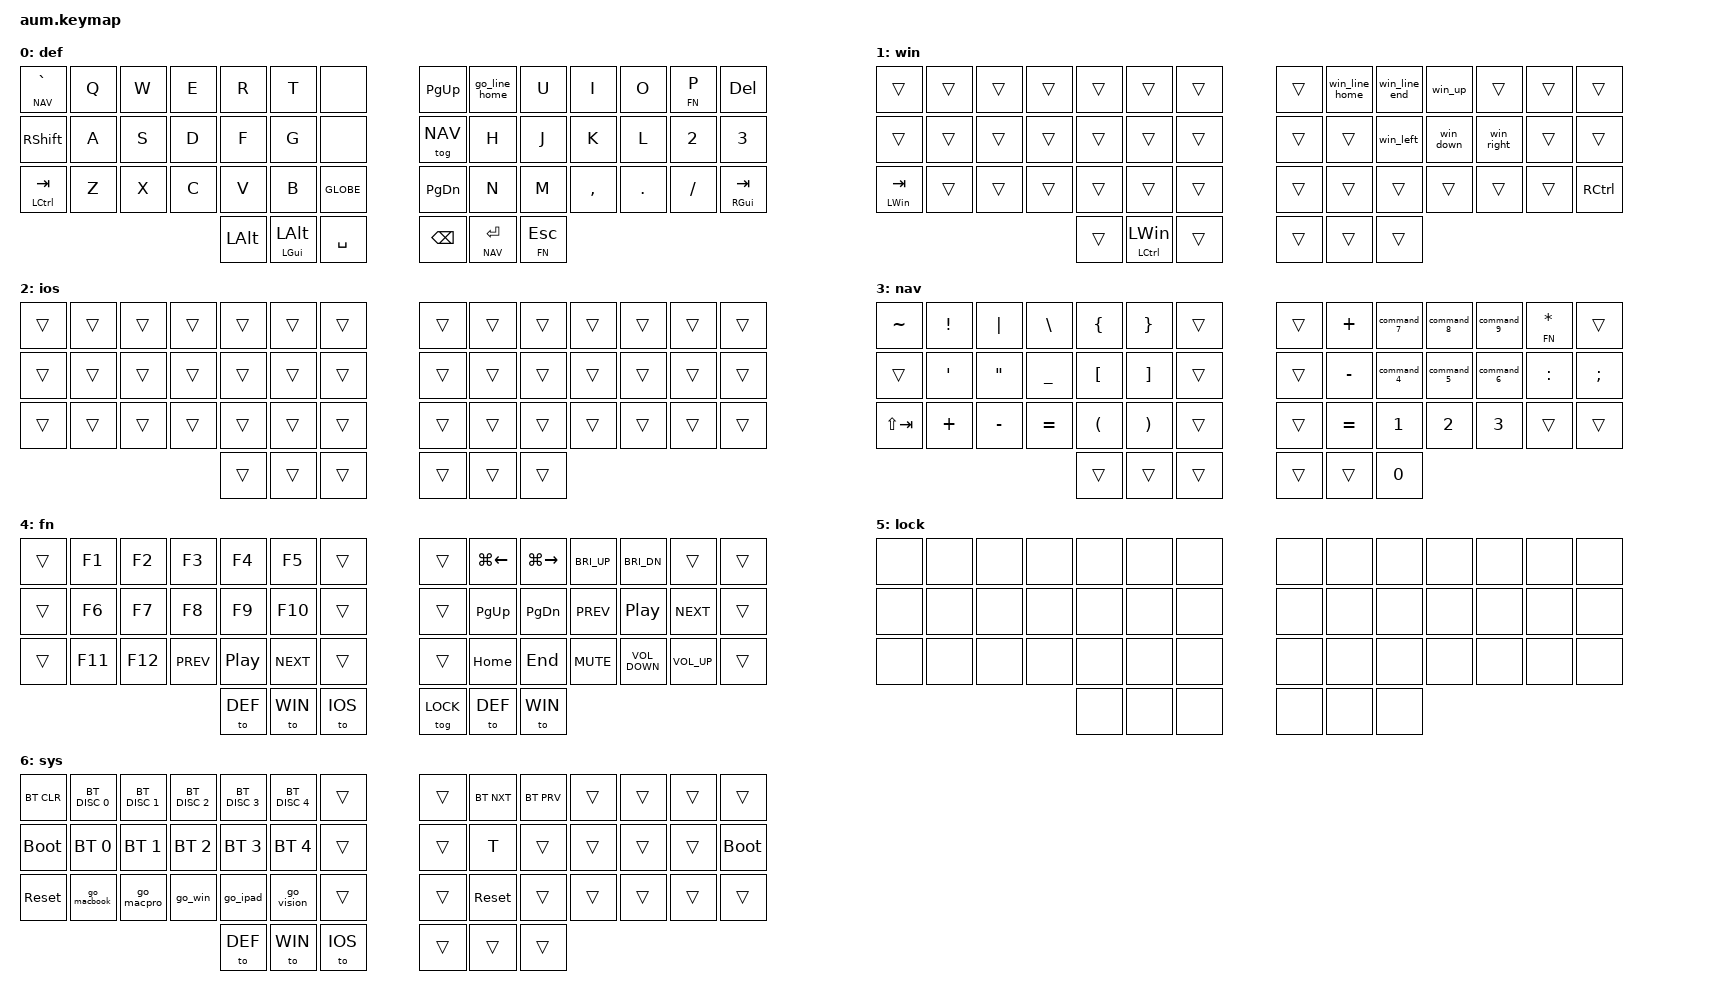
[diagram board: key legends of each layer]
#define ZMK_MOUSE_DEFAULT_SCRL_VAL 140

#include <behaviors/mouse_keys.dtsi>
#include <dt-bindings/zmk/mouse.h>
#include <behaviors.dtsi>
#include <dt-bindings/zmk/bt.h>
#include <dt-bindings/zmk/keys.h>
#include <dt-bindings/zmk/pointing.h>


#define XXX &none
#define ___ &trans

#define COMBO_TIMEOUT 100

#define DEF 0
#define WIN 1
#define IOS 2
#define NAV 3
#define FN 4
#define LOCK 5  // 添加LOCK层
#define SYS 6


// 设置图层切换风格, 默认是轻触优先, 我这里改成按住优先就可以
&lt {
    flavor = "hold-preferred";
    tapping-term-ms = <200>;
    require-prior-idle-ms = <125>;  // 也就差说如果我在按下A键125ms内按下这个键, 轻触行为会生效
};

&mt {
    flavor = "hold-preferred";
    tapping-term-ms = <200>;
};


/ {
    conditional_layers {
        compatible = "zmk,conditional-layers";
        tri_layer {
            if-layers = <3 4>;
            then-layer = <6>;
        };
    };
};

/ {
    combos {
        compatible = "zmk,combos";

        // 添加锁定层的组合键
        // combo_lock_layer {
        //     timeout-ms = <50>;
        //     key-positions = <1 2 3>;  // 右上角三个键的组合
        //     bindings = <&tog LOCK>;     // 切换LOCK层
        // };

         combo_lock_layer_new {
             timeout-ms = <50>;
             key-positions = <16 17 18>;  // 三个键的组合, 第一排开始, 左右都算在内
             bindings = <&tog LOCK>;     // 切换LOCK层
             require-prior-idle-ms = <1000>;  // 添加这个配置，要求在按combo之前有200ms的空闲时间
         };
    };
};


/ {
    behaviors {

    mk_tap: mk_tap {
            compatible = "zmk,behavior-hold-tap";
            #binding-cells = <2>;
            flavor = "tap-preferred";
            tapping-term-ms = <200>;
            quick-tap-ms = <200>; // 在 200ms 内再次按下时使用轻触功能
            retro-tap;  // 单独按住后松开仍触发轻触功能
            bindings = <&kp>, <&kp>;
        };

    mt_hold: mt_hold {
            compatible = "zmk,behavior-hold-tap";
            #binding-cells = <2>;
            flavor = "hold-preferred";
            tapping-term-ms = <200>;
            bindings = <&kp>, <&kp>;
        };

    lgui_hold: lgui_hold {
            compatible = "zmk,behavior-hold-tap";
            #binding-cells = <2>;
            flavor = "hold-preferred";
            tapping-term-ms = <300>;
            // quick-tap-ms = <200>; // 如果在200毫秒内再次按下这个键, 则直接出发两次这个键
            // retro-tap;  // 如果按了之后没有按其他键, 直接松开了, 则触发短按功能 
            hold-while-undecided;  // 如果按住之后, 立刻按其他键了, 则直接触发长按功能
            // hold-while-undecided-linger;
            bindings = <&kp>, <&kp>;
        };
        
    layer_tap: layer_tap {
            compatible = "zmk,behavior-hold-tap";
            #binding-cells = <2>;
            flavor = "tap-preferred";
            tapping-term-ms = <200>;
            quick-tap-ms = <200>; // 如果在200毫秒内再次按下删除键, 则直接触发删除键
            // require-prior-idle-ms = <125>;   // 如果在按下之后的125ms内按下了其他的非修饰键, 例如f键, 则直接触发删除键功能
            retro-tap;  // 如果按了之后没有按其他键, 直接松开了, 则触发删除键功能
            //  hold-while-undecided;  // 按下后立即触发换层功能, 除非什么也不按直接松开, 否则都是按住功能
            bindings = <&mo>, <&kp>;
        };


        layer_hold: layer_hold {
            compatible = "zmk,behavior-hold-tap";
            #binding-cells = <2>;
            flavor = "hold-preferred";
            tapping-term-ms = <300>;
            quick-tap-ms = <200>; // 如果在200毫秒内再次按下删除键, 则直接触发删除键
            require-prior-idle-ms = <125>;   // 如果在按下之前的125ms内按下了其他的非修饰键, 例如f键, 则直接触发删除键功能
            // retro-tap;  // 如果按了之后没有按其他键, 直接松开了, 则触发删除键功能
            hold-while-undecided;  // 按下后立即触发换层功能, 除非什么也不按直接松开, 否则都是按住功能
            bindings = <&mo>, <&kp>;
        };

        

        go_up: go_up {
            compatible = "zmk,behavior-mod-morph";
            #binding-cells = <0>;
            bindings = <&kp I>, <&kp UP_ARROW>;
            mods = <(MOD_LGUI|MOD_RGUI)>;
        };

        go_down: go_down {
            compatible = "zmk,behavior-mod-morph";
            #binding-cells = <0>;
            bindings = <&kp K>, <&kp DOWN_ARROW>;
            mods = <(MOD_LGUI|MOD_RGUI)>;
        };

        go_right: go_right {
            compatible = "zmk,behavior-mod-morph";
            #binding-cells = <0>;
            bindings = <&kp L>, <&kp RIGHT_ARROW>;
            mods = <(MOD_LGUI|MOD_RGUI)>;
        };

        go_left: go_left {
            compatible = "zmk,behavior-mod-morph";
            #binding-cells = <0>;
            bindings = <&kp J>, <&kp LEFT_ARROW>;
            mods = <(MOD_LGUI|MOD_RGUI)>;
        };

        go_page_up: go_page_up {
            compatible = "zmk,behavior-mod-morph";
            #binding-cells = <0>;
            bindings = <&kp Y>, <&kp PAGE_UP>;
            mods = <(MOD_LGUI|MOD_RGUI)>;
        };

        go_page_down: go_page_down {
            compatible = "zmk,behavior-mod-morph";
            #binding-cells = <0>;
            bindings = <&kp H>, <&kp PAGE_DOWN>;
            mods = <(MOD_LGUI|MOD_RGUI)>;
        };

        go_line_home: go_line_home {
            compatible = "zmk,behavior-mod-morph";
            #binding-cells = <0>;
            bindings = <&kp Y>, <&kp LG(LEFT_ARROW)>;
            mods = <(MOD_LGUI|MOD_RGUI)>;
        };

        go_line_end: go_line_end {
            compatible = "zmk,behavior-mod-morph";
            #binding-cells = <0>;
            bindings = <&kp U>, <&kp LG(RIGHT_ARROW)>;
            mods = <(MOD_LGUI|MOD_RGUI)>;
        };

        // win方向快捷键设置
        win_up: win_up {
            compatible = "zmk,behavior-mod-morph";
            #binding-cells = <0>;
            bindings = <&kp I>, <&kp UP_ARROW>;
            mods = <(MOD_LCTL|MOD_RCTL)>;
        };

        win_down: win_down {
            compatible = "zmk,behavior-mod-morph";
            #binding-cells = <0>;
            bindings = <&kp K>, <&kp DOWN_ARROW>;
            mods = <(MOD_LCTL|MOD_RCTL)>;
        };

        win_right: win_right {
            compatible = "zmk,behavior-mod-morph";
            #binding-cells = <0>;
            bindings = <&kp L>, <&kp RIGHT_ARROW>;
            mods = <(MOD_LCTL|MOD_RCTL)>;
        };

        win_left: win_left {
            compatible = "zmk,behavior-mod-morph";
            #binding-cells = <0>;
            bindings = <&kp J>, <&kp LEFT_ARROW>;
            mods = <(MOD_LCTL|MOD_RCTL)>;
        };

        win_page_up: win_page_up {
            compatible = "zmk,behavior-mod-morph";
            #binding-cells = <0>;
            bindings = <&kp Y>, <&kp PAGE_UP>;
            mods = <(MOD_LCTL|MOD_RCTL)>;
        };

        win_page_down: win_page_down {
            compatible = "zmk,behavior-mod-morph";
            #binding-cells = <0>;
            bindings = <&kp H>, <&kp PAGE_DOWN>;
            mods = <(MOD_LCTL|MOD_RCTL)>;
        };

        win_line_home: win_line_home {
            compatible = "zmk,behavior-mod-morph";
            #binding-cells = <0>;
            bindings = <&kp Y>, <&kp LG(LEFT_ARROW)>;
            mods = <(MOD_LCTL|MOD_RCTL)>;
        };

        win_line_end: win_line_end {
            compatible = "zmk,behavior-mod-morph";
            #binding-cells = <0>;
            bindings = <&kp U>, <&kp LG(RIGHT_ARROW)>;
            mods = <(MOD_LCTL|MOD_RCTL)>;
        };
    };
};


/ {
    behaviors {
        command_4: command_4 {
            compatible = "zmk,behavior-mod-morph";
            #binding-cells = <0>;
            bindings = <&kp NUMBER_4>, <&kp LG(LEFT_ARROW)>;
            mods = <(MOD_LGUI|MOD_RGUI)>;
        };

        command_8_base: command_8_base {
            compatible = "zmk,behavior-mod-morph";
            #binding-cells = <0>;
            bindings = <&kp NUMBER_8>, <&kp LG(UP_ARROW)>;
            mods = <(MOD_LGUI|MOD_RGUI)>;
        };

        command_8_shift: command_8_shift {
            compatible = "zmk,behavior-mod-morph";
            #binding-cells = <0>;
            bindings = <&kp ASTERISK>, <&account_macro>;
            mods = <(MOD_LGUI|MOD_RGUI)>;
        };

        command_8: command_8 {
            compatible = "zmk,behavior-mod-morph";
            #binding-cells = <0>;
            bindings = <&command_8_base>, <&command_8_shift>;
            mods = <(MOD_LSFT|MOD_RSFT)>;
        };

        command_5: command_5 {
            compatible = "zmk,behavior-mod-morph";
            #binding-cells = <0>;
            bindings = <&kp NUMBER_5>, <&kp LG(DOWN_ARROW)>;
            mods = <(MOD_LGUI|MOD_RGUI)>;
        };

        command_6_base: command_6_base {
            compatible = "zmk,behavior-mod-morph";
            #binding-cells = <0>;
            bindings = <&kp NUMBER_6>, <&kp LG(RIGHT_ARROW)>;
            mods = <(MOD_LGUI|MOD_RGUI)>;
        };

        command_6_shift: command_6_shift {
            compatible = "zmk,behavior-mod-morph";
            #binding-cells = <0>;
            bindings = <&kp CARET>, <&qq_macro>;
            mods = <(MOD_LGUI|MOD_RGUI)>;
        };

        command_6: command_6 {
            compatible = "zmk,behavior-mod-morph";
            #binding-cells = <0>;
            bindings = <&command_6_base>, <&command_6_shift>;
            mods = <(MOD_LSFT|MOD_RSFT)>;
        };
        
        command_7_shift: command_7_shift {
            compatible = "zmk,behavior-mod-morph";
            #binding-cells = <0>;
            bindings = <&kp AMPS>, <&email_macro>;
            mods = <(MOD_LGUI|MOD_RGUI)>;
        };

        command_7: command_7 {
            compatible = "zmk,behavior-mod-morph";
            #binding-cells = <0>;
            bindings = <&kp NUMBER_7>, <&command_7_shift>;
            mods = <(MOD_LSFT|MOD_RSFT)>;
        };

        command_9_shift: command_9_shift {
            compatible = "zmk,behavior-mod-morph";
            #binding-cells = <0>;
            bindings = <&kp LPAR>, <&phone_macro>;
            mods = <(MOD_LGUI|MOD_RGUI)>;
        };

        command_9: command_9 {
            compatible = "zmk,behavior-mod-morph";
            #binding-cells = <0>;
            bindings = <&kp NUMBER_9>, <&command_9_shift>;
            mods = <(MOD_LSFT|MOD_RSFT)>;
        };

    };
};


/ {
    macros {

        account_macro: account_macro {
            compatible = "zmk,behavior-macro";
            #binding-cells = <0>;
            wait-ms = <10>;
            tap-ms = <10>;
            bindings
                = <&macro_release &kp LSHFT>
                , <&macro_release &kp RSHFT>
                , <&macro_release &kp LGUI>
                , <&macro_release &kp RGUI>
                , <&macro_release &kp LCTRL>
                , <&macro_release &kp RCTRL>
                , <&macro_release &kp LALT>
                , <&macro_release &kp RALT>
                , <&macro_tap &kp LS(Y) &kp Y &kp UNDERSCORE &kp N1 &kp N3 &kp N0 &kp N2 &kp N9 &kp N9 &kp N5 &kp N3 &kp N8 &kp N8 &kp N7>
                ;
        };

        email_macro: email_macro {
            compatible = "zmk,behavior-macro";
            #binding-cells = <0>;
            wait-ms = <10>;
            tap-ms = <10>;
            bindings
                = <&macro_release &kp LSHFT>
                , <&macro_release &kp RSHFT>
                , <&macro_release &kp LGUI>
                , <&macro_release &kp RGUI>
                , <&macro_release &kp LCTRL>
                , <&macro_release &kp RCTRL>
                , <&macro_release &kp LALT>
                , <&macro_release &kp RALT>
                , <&macro_tap &kp Y &kp A &kp N &kp G &kp Y &kp U &kp E &kp H &kp A &kp H &kp A &kp AT &kp Q &kp Q &kp DOT &kp C &kp O &kp M>
                ;
        };

        phone_macro: phone_macro {
            compatible = "zmk,behavior-macro";
            #binding-cells = <0>;
            wait-ms = <10>;
            tap-ms = <10>;
            bindings
                = <&macro_release &kp LSHFT>
                , <&macro_release &kp RSHFT>
                , <&macro_release &kp LGUI>
                , <&macro_release &kp RGUI>
                , <&macro_release &kp LCTRL>
                , <&macro_release &kp RCTRL>
                , <&macro_release &kp LALT>
                , <&macro_release &kp RALT>
                , <&macro_tap &kp N1 &kp N8 &kp N9 &kp N4 &kp N6 &kp N3 &kp N5 &kp N1 &kp N8 &kp N6 &kp N0>
                ;
        };

        qq_macro: qq_macro {
            compatible = "zmk,behavior-macro";
            #binding-cells = <0>;
            wait-ms = <10>;
            tap-ms = <10>;
            bindings
                = <&macro_release &kp LSHFT>
                , <&macro_release &kp RSHFT>
                , <&macro_release &kp LGUI>
                , <&macro_release &kp RGUI>
                , <&macro_release &kp LCTRL>
                , <&macro_release &kp RCTRL>
                , <&macro_release &kp LALT>
                , <&macro_release &kp RALT>
                , <&macro_tap &kp Y &kp Y &kp N3 &kp N5 &kp N3 &kp N4 &kp N3 &kp N6 &kp N5>
                ;
        };

        tab_page_two: tab_page_two {
            compatible = "zmk,behavior-macro";
            #binding-cells = <0>;
            bindings
                = <&macro_press &kp LGUI>
                , <&macro_wait_time 100>
                , <&macro_tap &kp TAB>
                , <&macro_wait_time 100>
                , <&macro_tap &kp TAB>
                , <&macro_wait_time 100>
                , <&macro_release &kp LGUI>
                ;
        };

        go_macbook: go_macbook {
            compatible = "zmk,behavior-macro";
            #binding-cells = <0>;
            bindings
                = <&bt BT_SEL 0>
                , <&to DEF>
                ;
        };

        go_macpro: go_macpro {
            compatible = "zmk,behavior-macro";
            #binding-cells = <0>;
            bindings
                = <&bt BT_SEL 1>
                , <&to DEF>
                ;
        };

        go_win: go_win {
            compatible = "zmk,behavior-macro";
            #binding-cells = <0>;
            bindings
                = <&bt BT_SEL 2>
                , <&to WIN>
                ;
        };

        go_ipad: go_ipad {
            compatible = "zmk,behavior-macro";
            #binding-cells = <0>;
            bindings
                = <&bt BT_SEL 3>
                , <&to IOS>
                ;
        };

       go_vision: go_vision {
            compatible = "zmk,behavior-macro";
            #binding-cells = <0>;
            bindings
                = <&bt BT_SEL 4>
                , <&to IOS>
                ;
        };

        go_lock: go_lock {
            compatible = "zmk,behavior-macro";
            #binding-cells = <0>;
            bindings
                = <&bt BT_SEL 4>
                , <&tog LOCK>
                ;
        };

    };
};


// 下面是Notion快捷键

/ {
    behaviors {

        notion_h1: notion_h1 {
            compatible = "zmk,behavior-mod-morph";
            #binding-cells = <0>;
            bindings = <&kp A>, <&kp LG(LA(NUMBER_1))>;
            mods = <(MOD_LALT)>;
        };

        notion_h2: notion_h2 {
            compatible = "zmk,behavior-mod-morph";
            #binding-cells = <0>;
            bindings = <&kp S>, <&kp LG(LA(NUMBER_2))>;
            mods = <(MOD_LALT)>;
        };

        notion_h3: notion_h3 {
            compatible = "zmk,behavior-mod-morph";
            #binding-cells = <0>;
            bindings = <&kp D>, <&kp LG(LA(NUMBER_3))>;
            mods = <(MOD_LALT)>;
        };

        notion_h0: notion_h0 {
            compatible = "zmk,behavior-mod-morph";
            #binding-cells = <0>;
            bindings = <&kp F>, <&kp LG(LA(NUMBER_0))>;
            mods = <(MOD_LALT)>;
        };
    };
};


/ {
    behaviors {
        
        LGUI_tab: LGUI_tab {
                compatible = "zmk,behavior-mod-morph";
                #binding-cells = <0>;
                bindings = <&kp LGUI>, <&kp LS(TAB)>;
                mods = <(MOD_LSFT)>;
        };

        LCTL_tab: LCTL_tab {
                compatible = "zmk,behavior-mod-morph";
                #binding-cells = <0>;
                bindings = <&kp LCTL>, <&kp LS(TAB)>;
                mods = <(MOD_LSFT)>;
        };

        LOCK_TOG: LOCK_TOG {
            compatible = "zmk,behavior-mod-morph";
            #binding-cells = <0>;
            bindings = <XXX>, <&tog LOCK>;
            mods = <(MOD_LGUI)>;
        };

        tonav: tonav {
            compatible = "zmk,behavior-mod-morph";
            #binding-cells = <0>;
            bindings = <XXX>, <&tog NAV>;
            mods = <(MOD_LALT)>;
        };

        dance_tilde: dance_tilde {
            compatible = "zmk,behavior-tap-dance";
            #binding-cells = <0>;
            tapping-term-ms = <200>;
            bindings = <XXX>, <&kp TILDE>;
        };
    };
};


/ {
    behaviors {

        td0: tap_dance_0 {
            compatible = "zmk,behavior-tap-dance";
            #binding-cells = <0>;
            tapping-term-ms = <200>;
            bindings = <&kp N1>, <&kp N2>, <&kp N3>;
        };

        dance_LBRC: dance_LBRC {
            compatible = "zmk,behavior-tap-dance";
            #binding-cells = <0>;
            tapping-term-ms = <400>;
            bindings = <&kp RS(LBKT)>, <&kp RS(RBKT)>;
        };

        dance_LPAR: dance_LPAR {
            compatible = "zmk,behavior-tap-dance";
            #binding-cells = <0>;
            tapping-term-ms = <400>;
            bindings = <&kp RS(N9)>, <&kp RS(N0)>;
        };

        dance_LBKT: dance_LBKT {
            compatible = "zmk,behavior-tap-dance";
            #binding-cells = <0>;
            tapping-term-ms = <400>;
            bindings = <&kp LBKT>, <&kp RBKT>;
        };

        dance_COLON: dance_COLON {
            compatible = "zmk,behavior-tap-dance";
            #binding-cells = <0>;
            tapping-term-ms = <400>;
            bindings = <&kp RS(SEMICOLON)>, <&kp SEMICOLON>;
        };

        dance_PIPE: dance_PIPE {
            compatible = "zmk,behavior-tap-dance";
            #binding-cells = <0>;
            tapping-term-ms = <400>;
            bindings = <&kp RS(BACKSLASH)>, <&kp BACKSLASH>;
        };

        dance_GRAVE: dance_GRAVE {
            compatible = "zmk,behavior-tap-dance";
            #binding-cells = <0>;
            tapping-term-ms = <400>;
            bindings = <&kp GRAVE>, <&kp TILDE>;
        };
    };
};


/ {
        keymap {
                compatible = "zmk,keymap";

                // 与 cornepad 一致：Cmd + I/J/K/L 的方向映射交给电脑端（Karabiner）。
                // U 同步为普通字母；Y 仍保留固件中的行首快捷键。
                DEF_layer {
                        bindings = <
//╭──────╮ ╭─────────────┬─────────────┬─────────────┬─────────────┬───────────┬───────────╮               ╭──────────────┬─────────────┬─────────────┬─────────────┬─────────────┬─────────────╮ ╭──────╮
  &layer_hold NAV GRAVE   &kp Q        &kp W          &kp E         &kp R          &kp T         XXX                     &kp PAGE_UP   &go_line_home   &kp U    &kp I      &kp O     &layer_tap FN P  &kp DELETE
//├──────┤ ├─────────────┼─────────────┼─────────────┼─────────────┼───────────┬───────────┤              ├─────────────┬──────────────┼─────────────┼─────────────┼─────────────┼─────────────┤ ├──────┤
  &kp RSHIFT  &kp A         &kp S          &kp D        &kp F         &kp G        XXX                     &tog NAV         &kp H        &kp J      &kp K     &kp L      &kp NUMBER_2     &kp NUMBER_3
//├──────┤ ├─────────────┼─────────────┼─────────────┼─────────────┼───────────┼───────────┤               ├─────────────┬──────────────┼─────────────┼─────────────┼─────────────┼─────────────┤ ├──────┤
  &mt LCTL TAB &kp Z        &kp X         &kp C         &kp V        &kp B      &kp GLOBE                 &kp PAGE_DOWN    &kp N         &kp M      &kp COMMA      &kp DOT      &kp SLASH   &mt_hold RGUI TAB
//├──────┤ ╰─────────────┼─────────────┴─────────────┼─────────────┼───────────┼───────────┤             ├────────────┬───────────────┼─────────────┼─────────────┴───────────────────────────╯ ├──────┤
                                        &kp LALT     &lgui_hold LGUI LALT  &kp SPC                           &kp BACKSPACE   &layer_hold NAV ENTER  &layer_hold FN ESC
//                                     ╰────────────┼──────────────┴─────────────╯                         ╰─────────────┴─────────────┼─────────────╯
                        >;
                label = "def";
                };


WIN_layer {

                        bindings = <
 //╭──────╮ ╭─────────────┬─────────────┬─────────────┬─────────────┬─────────────┬───────────╮               ╭─────────────┬─────────────┬─────────────┬─────────────┬─────────────╮ ╭─────────┬────────╮
    ___        ___          ___             ___           ___           ___          ___                           ___      &win_line_home   &win_line_end   &win_up          ___             ___         ___
//├──────┤ ├─────────────┼─────────────┼─────────────┼─────────────┼─────────────┬───────────┤                ├─────────────┬───────────┼─────────────┼─────────────┼─────────────┼─────────────┤ ├──────┤
     ___      ___           ___             ___           ___           ___         ___                             ___         ___         &win_left     &win_down   &win_right       ___           ___
//├──────┤ ├─────────────┼─────────────┼─────────────┼─────────────┼────────────┼─────────┤                   ├─────────────┬───────────┼─────────────┼─────────────┼─────────────┼─────────────┤ ├──────┤
  &mt LWIN TAB   ___             ___         ___        ___             ___         ___                             ___         ___          ___           ___           ___         ___           &kp RCTRL
//├──────┤ ╰─────────────┼─────────────┴─────────────┼─────────────┼────────────┼─────────┤                   ├─────────────┬───────────┼─────────────┼─────────────┴───────────────────────────╯ ├──────┤
                                          ___     &lgui_hold LCTL LWIN   ___                                              ___           ___         ___
//                                     ╰─────────────┴─────────────┴─────────────╯                                          ╰─────────────┴───────────┴─────────────╯                       
                        >;
                label = "win";
		};


IOS_layer {

                        bindings = <
//╭──────╮ ╭─────────────┬─────────────┬─────────────┬─────────────┬──────────────┬──────────╮               ╭─────────────┬─────────────┬─────────────┬─────────────┬─────────────╮ ╭─────────┬────────╮
    ___        ___          ___           ___            ___         ___             ___                           ___       ___          ___            ___          ___             ___         ___
//├──────┤ ├─────────────┼─────────────┼─────────────┼─────────────┼────────────┬────────────┤               ├─────────────┬───────────┼─────────────┼─────────────┼─────────────┼─────────────┤ ├──────┤
    ___        ___           ___           ___           ___         ___           ___                          ___         ___          ___           ___           ___         ___           ___
//├──────┤ ├─────────────┼─────────────┼─────────────┼─────────────┼────────────┼─────────┤                  ├─────────────┬───────────┼─────────────┼─────────────┼─────────────┼─────────────┤ ├──────┤
    ___       ___             ___           ___          ___         ___            ___                         ___         ___          ___           ___           ___         ___           ___
//├──────┤ ╰─────────────┼─────────────┴─────────────┼─────────────┼────────────┼─────────┤                  ├─────────────┬───────────┼─────────────┼─────────────┴───────────────────────────╯ ├──────┤
                                            ___          ___          ___                                                    ___           ___           ___
//                                     ╰─────────────┴─────────────┴─────────────╯                                         ╰─────────────┴─────────────┴─────────────╯
                        >;
                label = "ios";
		};

                NAV_layer {
                        bindings = <
//╭──────╮ ╭─────────────┬─────────────┬────────────────────┬────────────────┬───────────────┬───────────╮                  ╭───────────┬───────────────┬─────────────┬─────────────┬─────────────┬─────────────╮ ╭──────╮
  &kp TILDE  &kp EXCLAMATION &kp PIPE     &kp BACKSLASH         &kp LBRC        &kp RBRC         ___                            ___       &kp PLUS   &command_7    &command_8   &command_9     &layer_tap FN ASTERISK  ___
//├──────┤ ├─────────────┼─────────────┼────────────────────┼────────────────┼───────────────┬───────────┤                  ├────────────┬──────────────┼─────────────┼─────────────┼─────────────┼─────────────┤ ├──────┤
    ___    &kp SINGLE_QUOTE  &kp DOUBLE_QUOTES  &kp UNDERSCORE   &kp LBKT     &kp RBKT         ___                            ___         &kp MINUS    &command_4   &command_5     &command_6       &kp COLON     &kp SEMICOLON
//├──────┤ ├─────────────┼─────────────┼────────────────────┼────────────────┼───────────────┼───────────┤                  ├───────────┬───────────────┼─────────────┼─────────────┼─────────────┼─────────────┤ ├──────┤
 &kp LS(TAB)  &kp PLUS     &kp MINUS     &kp EQUAL             &kp LPAR       &kp RPAR             ___                           ___       &kp EQUAL    &kp NUMBER_1  &kp NUMBER_2   &kp NUMBER_3    ___          ___
//├──────┤ ╰─────────────┼─────────────┴────────────────────┼────────────────┼───────────────┼───────────┤                  ├────────────┬─────────────┼─────────────┼─────────────┴───────────────────────────╯ ├──────┤
                                                         ___           ___          ___                                                       ___           ___        &kp NUMBER_0
//                                                 ╰────────────┼──────────────┴─────────────╯                                             ╰────────────┴─────────────┼─────────────╯
                        >;
                label = "nav";
                };

                FN_layer {

                        bindings = <
//╭──────╮ ╭─────────────┬─────────────┬─────────────┬─────────────┬────────────┬────────────╮               ╭─────────────┬─────────────────┬────────────────────┬─────────────┬─────────────╮ ╭──────╮
    ___     &kp F1        &kp F2         &kp F3        &kp F4       &kp F5           ___                         ___        &kp LG(LEFT_ARROW)  &kp LG(RIGHT_ARROW)  &kp C_BRI_UP    &kp C_BRI_DN     ___          ___
//├──────┤ ├─────────────┼─────────────┼─────────────┼─────────────┼────────────┬────────────┤               ├─────────────┬─────────────────┼────────────────────┼─────────────┼─────────────┼─────────────┤ ├──────┤
    ___     &kp F6       &kp F7        &kp F8          &kp F9       &kp F10        ___                        ___             &kp PAGE_UP        &kp PAGE_DOWN       &kp C_PREV  &kp C_PLAY_PAUSE  &kp C_NEXT    ___
//├──────┤ ├─────────────┼─────────────┼─────────────┼─────────────┼────────────┼────────────┤               ├─────────────┬─────────────────┼────────────────────┼─────────────┼─────────────┼─────────────┤ ├──────┤
    ___     &kp F11       &kp F12        &kp C_PREV  &kp C_PLAY_PAUSE  &kp C_NEXT       ___                   ___               &kp HOME            &kp END         &kp C_MUTE  &kp C_VOLUME_DOWN &kp C_VOL_UP  ___
//├──────┤ ╰─────────────┼─────────────┴─────────────┼─────────────┼────────────┼────────────┤               ├─────────────┬─────────────────┼────────────────────┼─────────────┴─────────────┼─────────────╯ ├──────┤
                                           &to DEF        &to WIN     &to IOS                                                 &tog LOCK    &to DEF       &to WIN
//                                     ╰─────────────┴─────────────┴────────────╯                                         ╰─────────────┴─────────────┴─────────────╯
                        >;
                label = "fn";
		};

                LOCK_layer {
                        bindings = <
//╭──────╮ ╭─────────────┬─────────────┬─────────────┬─────────────┬────────────┬──────────╮                ╭───────────┬─────────────┬─────────────┬─────────────┬─────────────┬─────────────╮ ╭──────╮
    XXX          XXX         XXX            XXX            XXX         XXX         XXX                          XXX        XXX         XXX             XXX           XXX            XXX        XXX
//├──────┤ ├─────────────┼─────────────┼─────────────┼─────────────┼──────────┬────────────┤                ├────────────┬────────────┼─────────────┼─────────────┼─────────────┼─────────────┤ ├──────┤
    XXX          XXX         XXX             XXX          XXX           XXX         XXX                          XXX        XXX         XXX             XXX         XXX              XXX        XXX
//├──────┤ ├─────────────┼─────────────┼─────────────┼─────────────┼─────────────┼─────────┤                ├───────────┬─────────────┼─────────────┼─────────────┼─────────────┼─────────────┤ ├──────┤
    XXX         XXX           XXX           XXX           XXX           XXX        XXX                        XXX           XXX            XXX         XXX           XXX           XXX          XXX
//├──────┤ ╰─────────────┼─────────────┴─────────────┼─────────────┼─────────────┼─────────┤                ├───────────┬─────────────┼─────────────┼─────────────┴───────────────────────────╯ ├──────┤
                                            XXX            XXX            XXX                                            XXX              XXX            XXX
//                                      ╰─────────────┴────────────┴─────────────╯                                      ╰─────────────┴──────────────┴─────────────╯
                        >;
                label = "lock";
                };


SYS_layer {

                        bindings = <
//╭──────╮ ╭─────────────┬─────────────┬─────────────┬─────────────┬────────────┬──────────╮                ╭───────────┬─────────────┬─────────────┬─────────────┬─────────────┬─────────────╮ ╭──────╮
  &bt BT_CLR  &bt BT_DISC 0  &bt BT_DISC 1 &bt BT_DISC 2 &bt BT_DISC 3 &bt BT_DISC 4  ___                      ___        &bt BT_NXT   &bt BT_PRV      ___           ___            ___          ___
//├──────┤ ├─────────────┼─────────────┼─────────────┼─────────────┼──────────┬────────────┤                ├────────────┬────────────┼─────────────┼─────────────┼─────────────┼─────────────┤ ├──────┤
  &bootloader &bt BT_SEL 0  &bt BT_SEL 1  &bt BT_SEL 2  &bt BT_SEL 3  &bt BT_SEL 4   ___                       ___          &kp T          ___           ___           ___         ___       &bootloader
//├──────┤ ├─────────────┼─────────────┼─────────────┼─────────────┼─────────────┼─────────┤                ├───────────┬─────────────┼─────────────┼─────────────┼─────────────┼─────────────┤ ├──────┤
  &sys_reset  &go_macbook   &go_macpro      &go_win     &go_ipad      &go_vision     ___                        ___        &sys_reset      ___           ___           ___           ___           ___
//├──────┤ ╰─────────────┼─────────────┴─────────────┼─────────────┼─────────────┼─────────┤                ├───────────┬─────────────┼─────────────┼─────────────┴───────────────────────────╯ ├──────┤
                                            &to DEF        &to WIN     &to IOS                                                 ___          ___             ___
//                                      ╰─────────────┴────────────┴─────────────╯                                      ╰─────────────┴──────────────┴─────────────╯
                        >;
                    label = "sys";
		};


        };
};
